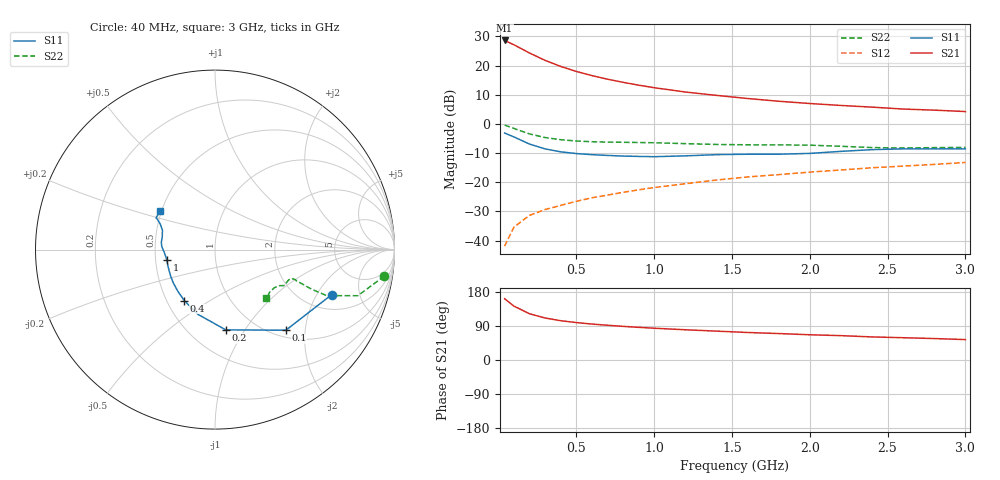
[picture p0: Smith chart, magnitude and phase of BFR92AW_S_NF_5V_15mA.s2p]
! Filename:  BFR92AWD.S2P  Version:  4.0
! Philips part #: BFR92AW  Date: Jun 1994
! Bias condition: Vce=5V, Ic=15mA
#  MHz  S  MA  R  50
! Freq  S11  S21  S12  S22  !GUM [dB]
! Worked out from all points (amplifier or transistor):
!   21 points, 40 MHz to 3 GHz, reference 50 ohm
!   highest |S21| = 28.6 dB at 40 MHz (marker M1)
!   |S21| within 3 dB of that: start of sweep to 153.7 MHz
!   unconditionally stable (mu >= 1): 588.8 MHz to end of sweep
!   at 300 MHz: K = 0.78, MSG = 25.6 dB, |S12| = -29.4 dB
!   at 1 GHz: K = 1.10, MAG = 15.2 dB, |S12| = -21.8 dB
!   at 3 GHz: K = 1.07, MAG = 7.1 dB, |S12| = -13.2 dB
!   lowest NFmin = 2.30 dB at 500 MHz
!   S11 on the Smith chart (normalised r, x): 40 MHz: 2.78, -2.71; 100 MHz: 1.13, -1.58; 200 MHz: 0.73, -0.82; 400 MHz: 0.61, -0.39; 1 GHz: 0.57, -0.07; 3 GHz: 0.49, +0.25
40  0.697 -21.1  26.99 161.6  0.008 80.8  0.955 -8.9
100  0.598 -48.7  22.75 142.1  0.017 69.6  0.836 -17.9
200  0.451 -82.4  16.44 122.0  0.027 63.4  0.673 -22.4
300  0.373 -104.8  12.29 110.8  0.034 62.6  0.584 -22.3
400  0.332 -121.0  9.684 103.7  0.04 64.8  0.536 -21.7
500  0.31 -132.4  7.95 98.8  0.047 66.5  0.509 -21.3
600  0.297 -141.7  6.748 94.9  0.054 68.4  0.495 -21.2
700  0.288 -149.0  5.851 91.7  0.06 69.8  0.487 -21.0
800  0.281 -155.6  5.172 88.8  0.067 70.9  0.484 -20.9
900  0.277 -161.8  4.623 86.2  0.074 71.8  0.48 -20.6
1000  0.274 -167.5  4.18 83.9  0.081 72.7  0.475 -20.5
1200  0.283 -176.9  3.526 79.8  0.094 73.7  0.459 -20.6
1400  0.297 176.7  3.086 76.2  0.109 74.4  0.444 -22.3
1600  0.302 172.2  2.728 72.6  0.123 74.8  0.438 -25.2
1800  0.302 166.7  2.448 69.8  0.135 75.4  0.437 -26.9
2000  0.312 159.7  2.238 66.6  0.149 75.8  0.432 -27.7
2200  0.338 154.8  2.072 64.3  0.162 76.1  0.413 -29.1
2400  0.362 152.3  1.94 60.9  0.177 76.1  0.393 -32.7
2600  0.373 151.7  1.798 58.8  0.189 75.9  0.386 -37.8
2800  0.373 149.3  1.722 56.6  0.202 76.4  0.392 -41.4
3000  0.373 144.9  1.629 53.9  0.218 76.4  0.395 -43.6
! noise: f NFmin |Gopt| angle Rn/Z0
500  2.3  0.222  25.2  0.332
1000  2.8  0.151  66.2  0.37
2000  3.7  0.222  -164.7  0.3
